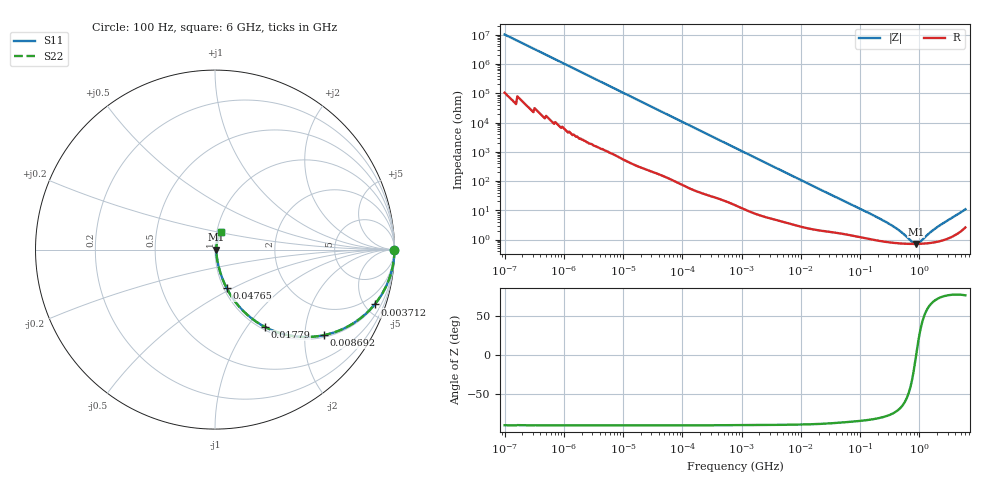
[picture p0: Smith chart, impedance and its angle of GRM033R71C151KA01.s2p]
!Murata Part Number: GRM033R71C151KA01
!These Parameters are Measured in Series Mode Connection
!Data Generated on Mar 30, 2021
!  o--ll--o
!Port1  Port2
!  o------o
!Operation Temp=25[degC], DC Bias Voltage=0[V]
!Freq. Start=100[Hz] Stop=6[GHz] 401[Steps]
# Hz S RI R 50
!Freq.(Hz) S11(Real) S11(Imag) S21(Real) S21(Imag) S12(Real) S12(Imag) S22(Real) S22(Imag)
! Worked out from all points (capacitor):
!   401 points, 100 Hz to 6 GHz, reference 50 ohm
!   read as one part in series: C = 155 pF near 109 Hz
!   lowest |Z| = 711 mohm at 875 MHz (marker M1)
!   series resonance near 885.1 MHz, so ESL is about 210 pH
!   S11 on the Smith chart (normalised r, x): 100 Hz: open; 3.712 MHz: 1.09, -5.78; 8.692 MHz: 1.06, -2.49; 17.79 MHz: 1.04, -1.22; 47.65 MHz: 1.03, -0.46; 6 GHz: 1.05, +0.21
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100  1 -9.8e-06  1e-07 9.8e-06  1e-07 9.8e-06  1 -9.8e-06
981  1 -9.48e-05  6e-07 9.48e-05  6e-07 9.48e-05  1 -9.48e-05
2008  1 -0.000194  1e-06 0.000194  1e-06 0.000194  1 -0.000194
40335  1 -0.00385  4e-05 0.00385  4e-05 0.00385  1 -0.00385
774597  0.9939 -0.0724  0.00607 0.0724  0.00607 0.0724  0.9939 -0.0724
1734173  0.9725 -0.1576  0.0275 0.1576  0.0275 0.1576  0.9725 -0.1576
3712478  0.8891 -0.3059  0.1109 0.3059  0.1109 0.3059  0.8891 -0.3059
5554849  0.7853 -0.4009  0.2147 0.4009  0.2147 0.4009  0.7853 -0.4009
8692127  0.6052 -0.477  0.3948 0.477  0.3948 0.477  0.6052 -0.477
1.555665e7  0.3333 -0.4556  0.6667 0.4556  0.6667 0.4556  0.3333 -0.4556
1.779312e7  0.2794 -0.4315  0.7206 0.4315  0.7206 0.4315  0.2794 -0.4315
2.784235e7  0.1456 -0.3296  0.8544 0.3296  0.8544 0.3296  0.1456 -0.3296
4.764863e7  0.0646 -0.2137  0.9354 0.2137  0.9354 0.2137  0.0646 -0.2137
1.066761e8  0.0222 -0.102  0.9778 0.102  0.9778 0.102  0.0222 -0.102
3.124326e8  0.00903 -0.0327  0.991 0.0327  0.991 0.0327  0.00903 -0.0327
4.888888e8  0.00757 -0.0168  0.9924 0.0168  0.9924 0.0168  0.00757 -0.0168
7.650043e8  0.00706 -0.00394  0.9929 0.00394  0.9929 0.00394  0.00706 -0.00394
8.749838e8  0.00705 -0.000306  0.9929 0.000306  0.9929 0.000306  0.00705 -0.000306
1.000774e9  0.00711 0.00333  0.9929 -0.00333  0.9929 -0.00333  0.00711 0.00333
1.497423e9  0.00778 0.0149  0.9922 -0.0149  0.9922 -0.0149  0.00778 0.0149
2.048624e9  0.00905 0.0256  0.9909 -0.0256  0.9909 -0.0256  0.00905 0.0256
6e9  0.0355 0.0993  0.9645 -0.0993  0.9645 -0.0993  0.0355 0.0993
